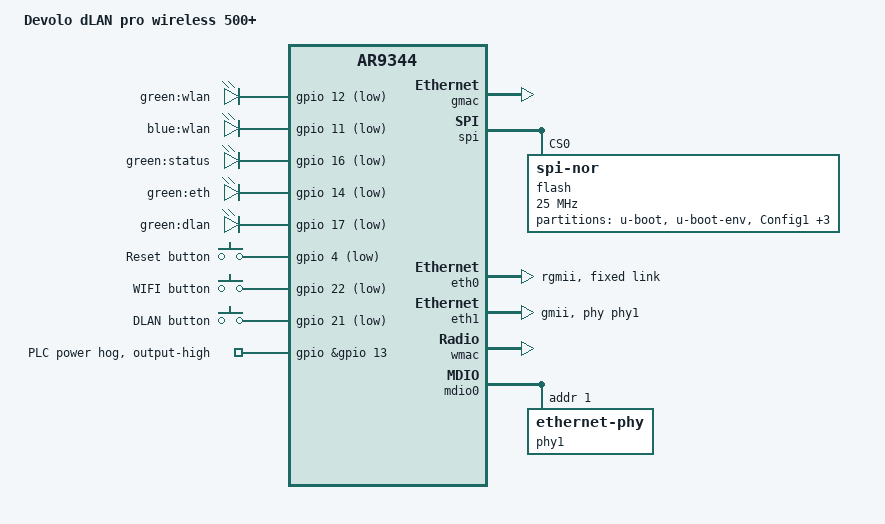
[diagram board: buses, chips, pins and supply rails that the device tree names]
// SPDX-License-Identifier: GPL-2.0-or-later OR MIT

#include "ar9344.dtsi"

#include <dt-bindings/gpio/gpio.h>
#include <dt-bindings/input/input.h>

/ {
	model = "Devolo dLAN pro wireless 500+";
	compatible = "devolo,dlan-pro-500-wp", "qca,ar9344";

	aliases {
		led-boot = &led_status_green;
		led-failsafe = &led_wlan_blue;
		led-running = &led_status_green;
		led-upgrade = &led_wlan_blue;
	};

	leds {
		compatible = "gpio-leds";

		led_wlan_green: wlan_green {
			label = "green:wlan";
			gpios = <&gpio 12 GPIO_ACTIVE_LOW>;
			linux,default-trigger = "phy1tpt";
		};

		led_wlan_blue: wlan_blue {
			label = "blue:wlan";
			gpios = <&gpio 11 GPIO_ACTIVE_LOW>;
			linux,default-trigger = "phy1tpt";
		};

		led_status_green: status_green {
			label = "green:status";
			gpios = <&gpio 16 GPIO_ACTIVE_LOW>;
		};

		led_eth_green: eth_green {
			label = "green:eth";
			gpios = <&gpio 14 GPIO_ACTIVE_LOW>;
		};

		led_dlan: dlan_greed {
			label = "green:dlan";
			gpios = <&gpio 17 GPIO_ACTIVE_LOW>;
		};
	};

	keys {
		compatible = "gpio-keys";

		reset {
			label = "Reset button";
			linux,code = <KEY_RESTART>;
			gpios = <&gpio 4 GPIO_ACTIVE_LOW>;
			debounce-interval = <60>;
		};

		wifi {
			label = "WIFI button";
			linux,code = <KEY_RFKILL>;
			gpios = <&gpio 22 GPIO_ACTIVE_LOW>;
			debounce-interval = <60>;
		};

		dlan {
			label = "DLAN button";
			linux,code = <BTN_0>;
			gpios = <&gpio 21 GPIO_ACTIVE_LOW>;
			debounce-interval = <60>;
		};
	};

	ahb: ahb {
		// Overwrite the register for GMAC0 connection
		gmac: gmac@18070000 {
			compatible = "qca,ar9340-gmac";
			// 0b010001 = 0x11
			//    |   +- RGMII_GMAC0
			//    +-> MII_GMAC0_SLAVE
			reg = <0x18070000 0x11>;
		};
	};
};

&gpio {
	plc_power {
		gpio-hog;
		line-name = "PLC power";
		gpios = <&gpio 13 GPIO_ACTIVE_HIGH>;
		output-high;
	};
};

&spi {
	status = "okay";

	flash@0 {
		compatible = "jedec,spi-nor";
		reg = <0>;
		spi-max-frequency = <25000000>;

		partitions {
			compatible = "fixed-partitions";
			#address-cells = <1>;
			#size-cells = <1>;

			uboot: partition@0 {
				label = "u-boot";
				reg = <0x0 0x40000>;
				read-only;
			};

			partition@40000 {
				label = "u-boot-env";
				reg = <0x40000 0x10000>;
				read-only;
			};

			partition@50000 {
				label = "Config1";
				reg = <0x50000 0x10000>;
				read-only;
			};

			partition@60000 {
				label = "Config2";
				reg = <0x60000 0x10000>;
				read-only;
			};

			partition@70000 {
				compatible = "denx,uimage";
				label = "firmware";
				reg = <0x70000 0x780000>;
			};

			art: partition@7f0000 {
				label = "art";
				reg = <0x7f0000 0x10000>;
				read-only;
			};
		};
	};
};

&ref {
	clock-frequency = <40000000>;
};

// GMAC0 is connected to a AR7400 PLC in PHY mode
&eth0 {
	status = "okay";

	// This is <PLL_1000 PLL_100 PLL_10>
	pll-data = <0x0e000000 0x00000101 0x00001616>;

	nvmem-cells = <&macaddr_art_1002>;
	nvmem-cell-names = "mac-address";
	mac-address-increment = <3>;

	phy-mode = "rgmii";

	gmac-config {
		device = <&gmac>;
		rgmii-gmac0 = <1>;
	};

	fixed-link {
		speed = <1000>;
		full-duplex;
	};
};

// GMAC1 is connected to the internal switch
&eth1 {
	status = "okay";

	pll-data = <0x16000000 0x00000101 0x00001616>;

	nvmem-cells = <&macaddr_art_1002>;
	nvmem-cell-names = "mac-address";
	mac-address-increment = <1>;

	phy-mode = "gmii";
	phy-handle = <&phy1>;
};

&wmac {
	status = "okay";

	mtd-cal-data = <&art 0x1000>;
};

&mdio0 {
	status = "okay";

	phy1: ethernet-phy@1 {
		reg = <1>;
		phy-mode = "gmii"; 

		// Configure the internal switch
		qca,ar8327-initvals = <
			0x04 0x02000000 // PORT0: rgmii
			0x08 0x00000000 // PORT5 PAD MODE CTRL
			0x0c 0x00000000 // PORT6 PAD MODE CTRL
			0x7c 0x0000007e // PORT0_STATUS: speed 1000, full duplex
		>;
	};
};

&art {
	compatible = "nvmem-cells";
	#address-cells = <1>;
	#size-cells = <1>;

	macaddr_art_1002: macaddr@1002 {
		reg = <0x1002 0x6>;
	};
};
